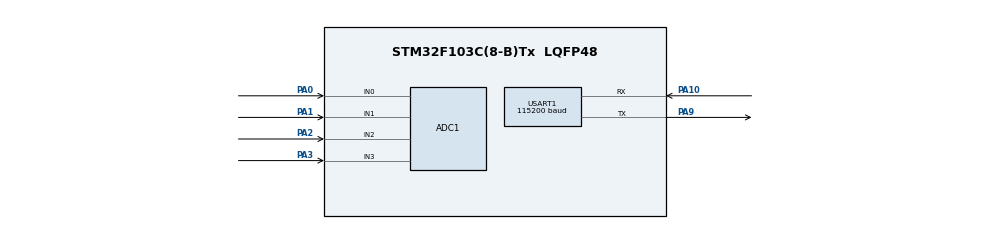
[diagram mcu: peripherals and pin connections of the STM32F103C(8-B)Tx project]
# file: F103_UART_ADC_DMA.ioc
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ADC1.Channel-2\#ChannelRegularConversion=ADC_CHANNEL_0
ADC1.Channel-3\#ChannelRegularConversion=ADC_CHANNEL_1
ADC1.Channel-4\#ChannelRegularConversion=ADC_CHANNEL_2
ADC1.Channel-5\#ChannelRegularConversion=ADC_CHANNEL_3
ADC1.ContinuousConvMode=ENABLE
ADC1.NbrOfConversion=4
ADC1.NbrOfConversionFlag=1
ADC1.Rank-2\#ChannelRegularConversion=1
ADC1.Rank-3\#ChannelRegularConversion=2
ADC1.Rank-4\#ChannelRegularConversion=3
ADC1.Rank-5\#ChannelRegularConversion=4
ADC1.SamplingTime-2\#ChannelRegularConversion=ADC_SAMPLETIME_1CYCLE_5
ADC1.SamplingTime-3\#ChannelRegularConversion=ADC_SAMPLETIME_1CYCLE_5
ADC1.SamplingTime-4\#ChannelRegularConversion=ADC_SAMPLETIME_1CYCLE_5
ADC1.SamplingTime-5\#ChannelRegularConversion=ADC_SAMPLETIME_1CYCLE_5
ADC1.master=1
Dma.ADC1.0.Direction=DMA_PERIPH_TO_MEMORY
Dma.ADC1.0.Instance=DMA1_Channel1
Dma.ADC1.0.MemDataAlignment=DMA_MDATAALIGN_WORD
Dma.ADC1.0.MemInc=DMA_MINC_ENABLE
Dma.ADC1.0.Mode=DMA_CIRCULAR
Dma.ADC1.0.PeriphDataAlignment=DMA_PDATAALIGN_WORD
Dma.ADC1.0.PeriphInc=DMA_PINC_DISABLE
Dma.ADC1.0.Priority=DMA_PRIORITY_LOW
Dma.Request0=ADC1
Dma.Request1=USART1_RX
Dma.USART1_RX.1.Direction=DMA_PERIPH_TO_MEMORY
Dma.USART1_RX.1.Instance=DMA1_Channel5
Dma.USART1_RX.1.MemDataAlignment=DMA_MDATAALIGN_BYTE
Dma.USART1_RX.1.MemInc=DMA_MINC_ENABLE
Dma.USART1_RX.1.Mode=DMA_NORMAL
Dma.USART1_RX.1.PeriphDataAlignment=DMA_PDATAALIGN_BYTE
Dma.USART1_RX.1.PeriphInc=DMA_PINC_DISABLE
Dma.USART1_RX.1.Priority=DMA_PRIORITY_LOW
Mcu.Family=STM32F1
Mcu.Name=STM32F103C(8-B)Tx
Mcu.Package=LQFP48
NVIC.ADC1_2_IRQn=true\:0\:0\:false\:false\:true\:true\:true\:true
NVIC.DMA1_Channel1_IRQn=true\:0\:0\:false\:false\:true\:false\:true\:true
NVIC.DMA1_Channel5_IRQn=true\:0\:0\:false\:false\:true\:false\:true\:true
NVIC.PriorityGroup=NVIC_PRIORITYGROUP_4
NVIC.TIM1_BRK_IRQn=true\:0\:0\:false\:false\:true\:true\:true\:true
NVIC.TIM1_CC_IRQn=true\:0\:0\:false\:false\:true\:true\:true\:true
NVIC.TIM1_TRG_COM_IRQn=true\:0\:0\:false\:false\:true\:true\:true\:true
NVIC.TIM1_UP_IRQn=true\:0\:0\:false\:false\:true\:true\:true\:true
NVIC.USART1_IRQn=true\:0\:0\:false\:false\:true\:true\:true\:true
PA0-WKUP.Signal=ADCx_IN0
PA1.Signal=ADCx_IN1
PA10.Mode=Asynchronous
PA10.Signal=USART1_RX
PA13.Mode=Serial_Wire
PA13.Signal=SYS_JTMS-SWDIO
PA14.Mode=Serial_Wire
PA14.Signal=SYS_JTCK-SWCLK
PA2.Signal=ADCx_IN2
PA3.Signal=ADCx_IN3
PA9.Mode=Asynchronous
PA9.Signal=USART1_TX
PD0-OSC_IN.Mode=HSE-External-Oscillator
PD0-OSC_IN.Signal=RCC_OSC_IN
PD1-OSC_OUT.Mode=HSE-External-Oscillator
PD1-OSC_OUT.Signal=RCC_OSC_OUT
ProjectManager.HeapSize=0x200
ProjectManager.StackSize=0x400
ProjectManager.TargetToolchain=STM32CubeIDE
RCC.APB1Freq_Value=8000000
RCC.APB2Freq_Value=8000000
SH.ADCx_IN0.0=ADC1_IN0,IN0
SH.ADCx_IN1.0=ADC1_IN1,IN1
SH.ADCx_IN2.0=ADC1_IN2,IN2
SH.ADCx_IN3.0=ADC1_IN3,IN3
TIM1.AutoReloadPreload=TIM_AUTORELOAD_PRELOAD_ENABLE
TIM1.Period=10000-1
TIM1.Prescaler=720-1
USART1.BaudRate=115200
USART1.VirtualMode=VM_ASYNC
VP_TIM1_VS_ClockSourceINT.Mode=Internal
board=custom

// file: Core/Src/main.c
/* USER CODE BEGIN Header */
/**
 ******************************************************************************
 * @file           : main.c
 * @brief          : Main program body
 ******************************************************************************
 * @attention
 *
 * Copyright (c) 2022 STMicroelectronics.
 * All rights reserved.
 *
 * This software is licensed under terms that can be found in the LICENSE file
 * in the root directory of this software component.
 * If no LICENSE file comes with this software, it is provided AS-IS.
 *
 ******************************************************************************
 */
/* USER CODE END Header */
#include "main.h"

/* USER CODE BEGIN Includes */
#include "string.h"
#include "stdio.h"
#include <stdbool.h>
/* USER CODE END Includes */

ADC_HandleTypeDef hadc1;
DMA_HandleTypeDef hdma_adc1;

TIM_HandleTypeDef htim1;

UART_HandleTypeDef huart1;
DMA_HandleTypeDef hdma_usart1_rx;

/* USER CODE BEGIN PV */
uint32_t adcbuffer[4];
uint32_t data1;
uint32_t data2;
uint32_t data3;
uint32_t data4;
char txdata[15];
char txdatanew[15];

uint8_t rxBuf[8];
uint8_t rxindex = 0;
uint8_t rxindex_2 = 0;

char txdatanew[15];
uint8_t Buf_1ch[1];
uint8_t len=0;

uint32_t currentTime = 0;
uint32_t previousTime = 0;

uint8_t final_data[8]={0,0,0,0,0,0,0,0};

/* USER CODE END PV */

void SystemClock_Config(void);
static void MX_GPIO_Init(void);
static void MX_DMA_Init(void);
static void MX_ADC1_Init(void);
static void MX_USART1_UART_Init(void);
static void MX_TIM1_Init(void);

/* USER CODE BEGIN 0 */

void sendData(char *data) {
	len = sizeof(txdata) / sizeof(txdata[0]);
	for (int i = 0; i < len; i++) {
		txdata[i] = data[i];
	}
	sprintf(txdatanew, "%s",txdata);
	HAL_UART_Transmit(&huart1, (uint8_t*)&txdatanew, strlen(txdatanew), 500);
}

void HAL_UART_RxCpltCallback(UART_HandleTypeDef *huart) {
	if (huart == &huart1) {
		previousTime = currentTime;
		rxBuf[rxindex] = Buf_1ch[0];
		final_data[rxindex] = rxBuf[rxindex];
		rxindex++;

		HAL_UART_Receive_DMA(&huart1, Buf_1ch, 1);
		if (rxindex >= 8) {
			rxindex = 0;
		}
	}
}

void HAL_ADC_ConvCpltCallback(ADC_HandleTypeDef* hadc)
{
	if(hadc->Instance == ADC1)  // adc1 den değer geliyorsa
	{
		data4 = adcbuffer[0];
		data1  = adcbuffer[1];
		data2 = adcbuffer[2];
		data3 = adcbuffer[3];
		HAL_ADC_Start_DMA(&hadc1, adcbuffer, 4);
	}
}

void HAL_TIM_PeriodElapsedCallback(TIM_HandleTypeDef *htim) {
	if (htim->Instance == TIM1) { // sadece timer1 den kesmeye girdiginde burayi yapacak
		currentTime = HAL_GetTick();
		if (currentTime - previousTime >= 600)  { // dizide adres kaymasi yasanmasin diye egerki  300 msnden fazla fark varsa dizinin indexini sifirlama
			rxindex_2 = 0;
		}
		memset(rxBuf, 0, strlen((char *)rxBuf));
	}
}
/* USER CODE END 0 */

int main(void)
{

	/* MCU Configuration--------------------------------------------------------*/

	/* Reset of all peripherals, Initializes the Flash interface and the Systick. */
	HAL_Init();

	/* Configure the system clock */
	SystemClock_Config();

	/* Initialize all configured peripherals */
	MX_GPIO_Init();
	MX_DMA_Init();
	MX_ADC1_Init();
	MX_USART1_UART_Init();
	MX_TIM1_Init();
	/* USER CODE BEGIN 2 */
	HAL_TIM_Base_Start_IT(&htim1);

	HAL_ADC_Start_DMA(&hadc1,adcbuffer,4); // dizi 4 elemanlı

	HAL_UART_Receive_DMA(&huart1, Buf_1ch, 1); // dmayı tekrar kurduk yine alabilsin diye
	__HAL_DMA_DISABLE_IT(&hdma_usart1_rx, DMA_IT_HT);
	/* USER CODE END 2 */

	/* Infinite loop */
	while (1)
	{

		/* USER CODE BEGIN 3 */
		sendData("ozgedurgut");
		HAL_Delay(1000);
		sendData("HelloWorld");
		HAL_Delay(1000);
	}
	/* USER CODE END 3 */
}

void SystemClock_Config(void)
{
	RCC_OscInitTypeDef RCC_OscInitStruct = {0};
	RCC_ClkInitTypeDef RCC_ClkInitStruct = {0};
	RCC_PeriphCLKInitTypeDef PeriphClkInit = {0};

	/** Initializes the RCC Oscillators according to the specified parameters
	 * in the RCC_OscInitTypeDef structure.
	 */
	RCC_OscInitStruct.OscillatorType = RCC_OSCILLATORTYPE_HSI;
	RCC_OscInitStruct.HSIState = RCC_HSI_ON;
	RCC_OscInitStruct.HSICalibrationValue = RCC_HSICALIBRATION_DEFAULT;
	RCC_OscInitStruct.PLL.PLLState = RCC_PLL_NONE;
	if (HAL_RCC_OscConfig(&RCC_OscInitStruct) != HAL_OK)
	{
		Error_Handler();
	}

	/** Initializes the CPU, AHB and APB buses clocks
	 */
	RCC_ClkInitStruct.ClockType = RCC_CLOCKTYPE_HCLK|RCC_CLOCKTYPE_SYSCLK
			|RCC_CLOCKTYPE_PCLK1|RCC_CLOCKTYPE_PCLK2;
	RCC_ClkInitStruct.SYSCLKSource = RCC_SYSCLKSOURCE_HSI;
	RCC_ClkInitStruct.AHBCLKDivider = RCC_SYSCLK_DIV1;
	RCC_ClkInitStruct.APB1CLKDivider = RCC_HCLK_DIV1;
	RCC_ClkInitStruct.APB2CLKDivider = RCC_HCLK_DIV1;

	if (HAL_RCC_ClockConfig(&RCC_ClkInitStruct, FLASH_LATENCY_0) != HAL_OK)
	{
		Error_Handler();
	}
	PeriphClkInit.PeriphClockSelection = RCC_PERIPHCLK_ADC;
	PeriphClkInit.AdcClockSelection = RCC_ADCPCLK2_DIV2;
	if (HAL_RCCEx_PeriphCLKConfig(&PeriphClkInit) != HAL_OK)
	{
		Error_Handler();
	}
}

static void MX_ADC1_Init(void)
{

	ADC_ChannelConfTypeDef sConfig = {0};

	/** Common config
	 */
	hadc1.Instance = ADC1;
	hadc1.Init.ScanConvMode = ADC_SCAN_ENABLE;
	hadc1.Init.ContinuousConvMode = ENABLE;
	hadc1.Init.DiscontinuousConvMode = DISABLE;
	hadc1.Init.ExternalTrigConv = ADC_SOFTWARE_START;
	hadc1.Init.DataAlign = ADC_DATAALIGN_RIGHT;
	hadc1.Init.NbrOfConversion = 4;
	if (HAL_ADC_Init(&hadc1) != HAL_OK)
	{
		Error_Handler();
	}

	/** Configure Regular Channel
	 */
	sConfig.Channel = ADC_CHANNEL_0;
	sConfig.Rank = ADC_REGULAR_RANK_1;
	sConfig.SamplingTime = ADC_SAMPLETIME_1CYCLE_5;
	if (HAL_ADC_ConfigChannel(&hadc1, &sConfig) != HAL_OK)
	{
		Error_Handler();
	}

	/** Configure Regular Channel
	 */
	sConfig.Channel = ADC_CHANNEL_1;
	sConfig.Rank = ADC_REGULAR_RANK_2;
	if (HAL_ADC_ConfigChannel(&hadc1, &sConfig) != HAL_OK)
	{
		Error_Handler();
	}

	/** Configure Regular Channel
	 */
	sConfig.Channel = ADC_CHANNEL_2;
	sConfig.Rank = ADC_REGULAR_RANK_3;
	if (HAL_ADC_ConfigChannel(&hadc1, &sConfig) != HAL_OK)
	{
		Error_Handler();
	}

	/** Configure Regular Channel
	 */
	sConfig.Channel = ADC_CHANNEL_3;
	sConfig.Rank = ADC_REGULAR_RANK_4;
	if (HAL_ADC_ConfigChannel(&hadc1, &sConfig) != HAL_OK)
	{
		Error_Handler();
	}

}

static void MX_TIM1_Init(void)
{

	TIM_ClockConfigTypeDef sClockSourceConfig = {0};
	TIM_MasterConfigTypeDef sMasterConfig = {0};

	htim1.Instance = TIM1;
	htim1.Init.Prescaler = 720-1;
	htim1.Init.CounterMode = TIM_COUNTERMODE_UP;
	htim1.Init.Period = 10000-1;
	htim1.Init.ClockDivision = TIM_CLOCKDIVISION_DIV1;
	htim1.Init.RepetitionCounter = 0;
	htim1.Init.AutoReloadPreload = TIM_AUTORELOAD_PRELOAD_ENABLE;
	if (HAL_TIM_Base_Init(&htim1) != HAL_OK)
	{
		Error_Handler();
	}
	sClockSourceConfig.ClockSource = TIM_CLOCKSOURCE_INTERNAL;
	if (HAL_TIM_ConfigClockSource(&htim1, &sClockSourceConfig) != HAL_OK)
	{
		Error_Handler();
	}
	sMasterConfig.MasterOutputTrigger = TIM_TRGO_RESET;
	sMasterConfig.MasterSlaveMode = TIM_MASTERSLAVEMODE_DISABLE;
	if (HAL_TIMEx_MasterConfigSynchronization(&htim1, &sMasterConfig) != HAL_OK)
	{
		Error_Handler();
	}

}

static void MX_USART1_UART_Init(void)
{

	huart1.Instance = USART1;
	huart1.Init.BaudRate = 115200;
	huart1.Init.WordLength = UART_WORDLENGTH_8B;
	huart1.Init.StopBits = UART_STOPBITS_1;
	huart1.Init.Parity = UART_PARITY_NONE;
	huart1.Init.Mode = UART_MODE_TX_RX;
	huart1.Init.HwFlowCtl = UART_HWCONTROL_NONE;
	huart1.Init.OverSampling = UART_OVERSAMPLING_16;
	if (HAL_UART_Init(&huart1) != HAL_OK)
	{
		Error_Handler();
	}

}

static void MX_DMA_Init(void)
{

	/* DMA controller clock enable */
	__HAL_RCC_DMA1_CLK_ENABLE();

	/* DMA interrupt init */
	/* DMA1_Channel1_IRQn interrupt configuration */
	HAL_NVIC_SetPriority(DMA1_Channel1_IRQn, 0, 0);
	HAL_NVIC_EnableIRQ(DMA1_Channel1_IRQn);
	/* DMA1_Channel5_IRQn interrupt configuration */
	HAL_NVIC_SetPriority(DMA1_Channel5_IRQn, 0, 0);
	HAL_NVIC_EnableIRQ(DMA1_Channel5_IRQn);

}

static void MX_GPIO_Init(void)
{

	/* GPIO Ports Clock Enable */
	__HAL_RCC_GPIOD_CLK_ENABLE();
	__HAL_RCC_GPIOA_CLK_ENABLE();

}

void Error_Handler(void)
{
	__disable_irq();
	while (1)
	{
	}
}
